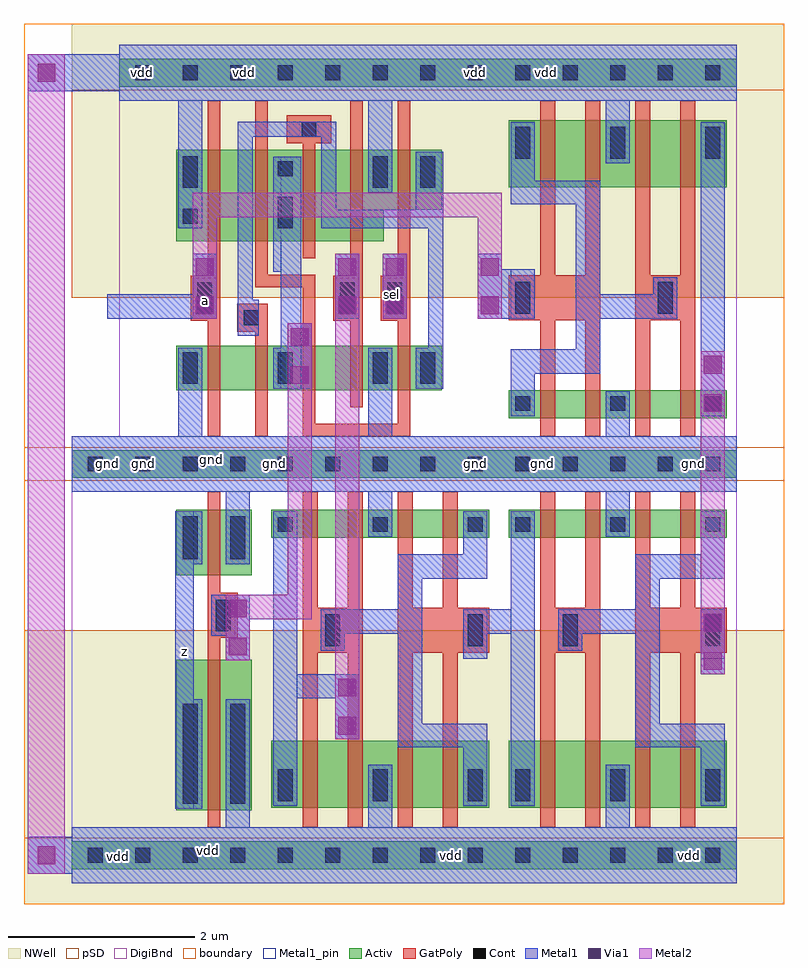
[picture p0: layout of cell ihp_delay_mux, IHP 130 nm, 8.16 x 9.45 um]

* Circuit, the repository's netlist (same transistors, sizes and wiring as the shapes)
* ------------------------------------------------------
*
*		Copyright 2025 IHP PDK Authors
*
*		Licensed under the Apache License, Version 2.0 (the "License");
*		you may not use this file except in compliance with the License.
*		You may obtain a copy of the License at
*
*		   https://www.apache.org/licenses/LICENSE-2.0
*
*		Unless required by applicable law or agreed to in writing, software
*		distributed under the License is distributed on an "AS IS" BASIS,
*		WITHOUT WARRANTIES OR CONDITIONS OF ANY KIND, either express or implied.
*		See the License for the specific language governing permissions and
*		limitations under the License.
*
*		Generated on Thu Jul 30 11:38:32 2026
*
* ------------------------------------------------------
* Flattened from RM_IHPSG13_64x16_c2_1P_DLY_MUX; unchanged W/L/m.
.subckt ihp_delay_mux a sel z vdd gnd
Xinternal_XI11_MN0 z internal_net4 gnd gnd sg13_lv_nmos w=705.000n l=130.00n m=1
Xinternal_XI11_MP0 z internal_net4 vdd vdd sg13_lv_pmos w=1.62u l=130.00n m=1
Xinternal_XI8_MP4 internal_XI8_SN sel vdd vdd sg13_lv_pmos w=645.000n l=130.00n m=1
Xinternal_XI8_MP3 internal_net4 internal_XI8_SN internal_XI8_net12 vdd sg13_lv_pmos w=985.000n l=130.00n m=1
Xinternal_XI8_MP2 internal_XI8_net12 internal_D<3> vdd vdd sg13_lv_pmos w=985.000n l=130.00n m=1
Xinternal_XI8_MP1 internal_net4 sel internal_XI8_net17 vdd sg13_lv_pmos w=985.000n l=130.00n m=1
Xinternal_XI8_MP0 internal_XI8_net17 a vdd vdd sg13_lv_pmos w=985.000n l=130.00n m=1
Xinternal_XI8_MN5 internal_XI8_SN sel gnd gnd sg13_lv_nmos w=480.00n l=130.00n m=1
Xinternal_XI8_MN3 internal_XI8_net13 internal_D<3> gnd gnd sg13_lv_nmos w=480.00n l=130.00n m=1
Xinternal_XI8_MN2 internal_net4 sel internal_XI8_net13 gnd sg13_lv_nmos w=480.00n l=130.00n m=1
Xinternal_XI8_MN1 internal_XI8_net15 a gnd gnd sg13_lv_nmos w=480.00n l=130.00n m=1
Xinternal_XI8_MN0 internal_net4 internal_XI8_SN internal_XI8_net15 gnd sg13_lv_nmos w=480.00n l=130.00n m=1
Xinternal_XI20<3>_MN1 internal_XI20<3>_net010 internal_XI20<3>_net032 gnd gnd sg13_lv_nmos w=300.0n l=160.00n m=1
Xinternal_XI20<3>_MN2 internal_XI20<3>_net032 internal_D<2> internal_XI20<3>_net014 gnd sg13_lv_nmos w=300.0n l=160.00n m=1
Xinternal_XI20<3>_MN0 internal_D<3> internal_XI20<3>_net032 internal_XI20<3>_net010 gnd sg13_lv_nmos w=300.0n l=160.00n m=1
Xinternal_XI20<3>_MN3 internal_XI20<3>_net014 internal_D<2> gnd gnd sg13_lv_nmos w=300.0n l=160.00n m=1
Xinternal_XI20<3>_MP1 internal_D<3> internal_XI20<3>_net032 internal_XI20<3>_net07 vdd sg13_lv_pmos w=720.00n l=160.00n m=1
Xinternal_XI20<3>_MP3 internal_XI20<3>_net011 internal_D<2> vdd vdd sg13_lv_pmos w=720.00n l=160.00n m=1
Xinternal_XI20<3>_MP0 internal_XI20<3>_net07 internal_XI20<3>_net032 vdd vdd sg13_lv_pmos w=720.00n l=160.00n m=1
Xinternal_XI20<3>_MP2 internal_XI20<3>_net032 internal_D<2> internal_XI20<3>_net011 vdd sg13_lv_pmos w=720.00n l=160.00n m=1
Xinternal_XI20<2>_MN1 internal_XI20<2>_net010 internal_XI20<2>_net032 gnd gnd sg13_lv_nmos w=300.0n l=160.00n m=1
Xinternal_XI20<2>_MN2 internal_XI20<2>_net032 internal_D<1> internal_XI20<2>_net014 gnd sg13_lv_nmos w=300.0n l=160.00n m=1
Xinternal_XI20<2>_MN0 internal_D<2> internal_XI20<2>_net032 internal_XI20<2>_net010 gnd sg13_lv_nmos w=300.0n l=160.00n m=1
Xinternal_XI20<2>_MN3 internal_XI20<2>_net014 internal_D<1> gnd gnd sg13_lv_nmos w=300.0n l=160.00n m=1
Xinternal_XI20<2>_MP1 internal_D<2> internal_XI20<2>_net032 internal_XI20<2>_net07 vdd sg13_lv_pmos w=720.00n l=160.00n m=1
Xinternal_XI20<2>_MP3 internal_XI20<2>_net011 internal_D<1> vdd vdd sg13_lv_pmos w=720.00n l=160.00n m=1
Xinternal_XI20<2>_MP0 internal_XI20<2>_net07 internal_XI20<2>_net032 vdd vdd sg13_lv_pmos w=720.00n l=160.00n m=1
Xinternal_XI20<2>_MP2 internal_XI20<2>_net032 internal_D<1> internal_XI20<2>_net011 vdd sg13_lv_pmos w=720.00n l=160.00n m=1
Xinternal_XI20<1>_MN1 internal_XI20<1>_net010 internal_XI20<1>_net032 gnd gnd sg13_lv_nmos w=300.0n l=160.00n m=1
Xinternal_XI20<1>_MN2 internal_XI20<1>_net032 a internal_XI20<1>_net014 gnd sg13_lv_nmos w=300.0n l=160.00n m=1
Xinternal_XI20<1>_MN0 internal_D<1> internal_XI20<1>_net032 internal_XI20<1>_net010 gnd sg13_lv_nmos w=300.0n l=160.00n m=1
Xinternal_XI20<1>_MN3 internal_XI20<1>_net014 a gnd gnd sg13_lv_nmos w=300.0n l=160.00n m=1
Xinternal_XI20<1>_MP1 internal_D<1> internal_XI20<1>_net032 internal_XI20<1>_net07 vdd sg13_lv_pmos w=720.00n l=160.00n m=1
Xinternal_XI20<1>_MP3 internal_XI20<1>_net011 a vdd vdd sg13_lv_pmos w=720.00n l=160.00n m=1
Xinternal_XI20<1>_MP0 internal_XI20<1>_net07 internal_XI20<1>_net032 vdd vdd sg13_lv_pmos w=720.00n l=160.00n m=1
Xinternal_XI20<1>_MP2 internal_XI20<1>_net032 a internal_XI20<1>_net011 vdd sg13_lv_pmos w=720.00n l=160.00n m=1
.ends ihp_delay_mux

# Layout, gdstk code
import gdstk
lib = gdstk.Library(unit=1e-6, precision=1e-09)
def R(c, l, rs):  # rectangles x0, y0, x1, y1
    for r in rs: c.add(gdstk.rectangle(r[:2], r[2:], *l))
def A(c, l, x, y, w, h, nx, ny, dx, dy):  # array of equal rectangles
    R(c, l, [(x+i*dx, y+j*dy, x+i*dx+w, y+j*dy+h) for i in range(nx) for j in range(ny)])
def P(c, l, *ps):  # polygons
    for p in ps: c.add(gdstk.Polygon(p, *l))
Activ = (1, 0)
GatPoly = (5, 0)
Cont = (6, 0)
Metal1 = (8, 0)
Metal1_pin = (8, 2)
Metal2 = (10, 0)
pSD = (14, 0)
DigiBnd = (16, 0)
Via1 = (19, 0)
NWell = (31, 0)
boundary = (189, 4)

ihp_delay_mux = lib.new_cell('ihp_delay_mux')
R(ihp_delay_mux, Activ, [(0.51,0.375,7.65,0.675), (1.635,1.005,2.445,2.625), (2.655,1.035,4.995,1.755), (5.205,1.035,7.545,1.755), (1.635,3.53,2.445,4.235), (2.655,3.935,4.995,4.235), (5.205,3.935,7.545,4.235), (0.51,4.575,7.65,4.875), (5.205,5.215,7.545,5.515), (1.635,5.515,4.485,5.995), (5.205,7.695,7.545,8.415), (1.02,8.775,7.65,9.075)])
P(ihp_delay_mux, Activ, [(1.635,7.115),(1.635,8.1),(4.485,8.1),(4.485,7.455),(3.865,7.455),(3.865,7.115)])
P(ihp_delay_mux, GatPoly, [(1.975,0.825),(1.975,4.425),(2.105,4.425),(2.105,3.34),(2.295,3.34),(2.295,2.86),(2.105,2.86),(2.105,0.825)],
  [(2.995,0.825),(2.995,4.425),(3.155,4.425),(3.155,3.18),(3.475,3.18),(3.475,4.425),(3.635,4.425),(3.635,0.825),(3.475,0.825),(3.475,2.7),(3.155,2.7),(3.155,0.825)],
  [(4.015,0.825),(4.015,4.425),(4.175,4.425),(4.175,3.18),(4.495,3.18),(4.495,4.425),(4.655,4.425),(4.655,3.18),(4.995,3.18),(4.995,2.7),(4.655,2.7),(4.655,0.825),(4.495,0.825),(4.495,2.7),(4.175,2.7),(4.175,0.825)],
  [(5.545,0.825),(5.545,4.425),(5.705,4.425),(5.705,3.18),(6.025,3.18),(6.025,4.425),(6.185,4.425),(6.185,0.825),(6.025,0.825),(6.025,2.7),(5.705,2.7),(5.705,0.825)],
  [(6.565,0.825),(6.565,4.425),(6.725,4.425),(6.725,3.18),(7.045,3.18),(7.045,4.425),(7.205,4.425),(7.205,3.18),(7.545,3.18),(7.545,2.7),(7.205,2.7),(7.205,0.825),(7.045,0.825),(7.045,2.7),(6.725,2.7),(6.725,0.825)],
  [(2.485,5.025),(2.485,6.145),(2.29,6.145),(2.29,6.445),(2.615,6.445),(2.615,5.025)],
  [(2.995,6.935),(2.995,8.17),(2.82,8.17),(2.82,8.47),(3.3,8.47),(3.3,8.17),(3.125,8.17),(3.125,6.935)],
  [(1.975,5.025),(1.975,6.265),(1.79,6.265),(1.79,6.745),(1.975,6.745),(1.975,8.625),(2.105,8.625),(2.105,5.025)],
  [(3.505,5.335),(3.505,6.265),(3.32,6.265),(3.32,6.745),(3.505,6.745),(3.505,8.625),(3.635,8.625),(3.635,5.335)],
  [(2.995,5.025),(2.995,6.625),(2.485,6.625),(2.485,8.625),(2.615,8.625),(2.615,6.755),(3.125,6.755),(3.125,5.155),(4.015,5.155),(4.015,6.265),(3.83,6.265),(3.83,6.745),(4.015,6.745),(4.015,8.625),(4.145,8.625),(4.145,5.025)],
  [(5.545,5.025),(5.545,6.27),(5.205,6.27),(5.205,6.75),(5.545,6.75),(5.545,8.625),(5.705,8.625),(5.705,6.75),(6.025,6.75),(6.025,8.625),(6.185,8.625),(6.185,5.025),(6.025,5.025),(6.025,6.27),(5.705,6.27),(5.705,5.025)],
  [(6.565,5.025),(6.565,8.625),(6.725,8.625),(6.725,6.75),(7.045,6.75),(7.045,8.625),(7.205,8.625),(7.205,5.025),(7.045,5.025),(7.045,6.27),(6.725,6.27),(6.725,5.025)])
A(ihp_delay_mux, Cont, 0.685, 0.445, 0.16, 0.16, 14, 2, 0.51, 4.2)
A(ihp_delay_mux, Cont, 2.725, 1.105, 0.16, 0.34, 3, 1, 1.02, 0)
A(ihp_delay_mux, Cont, 5.275, 1.105, 0.16, 0.34, 3, 2, 1.02, 6.9)
A(ihp_delay_mux, Cont, 2.725, 3.995, 0.16, 0.16, 3, 1, 1.02, 0)
A(ihp_delay_mux, Cont, 5.275, 3.995, 0.16, 0.16, 3, 2, 1.02, 1.3)
A(ihp_delay_mux, Cont, 1.705, 5.585, 0.16, 0.34, 3, 1, 1.02, 0)
A(ihp_delay_mux, Cont, 1.195, 8.845, 0.16, 0.16, 13, 1, 0.51, 0)
R(ihp_delay_mux, Cont, [(1.705,1.075,1.865,2.15), (2.215,1.075,2.375,2.15), (3.235,2.77,3.395,3.11), (4.765,2.77,4.925,3.11), (5.785,2.77,5.945,3.11), (7.315,2.77,7.475,3.11), (2.06,2.93,2.22,3.27), (1.705,3.7,1.865,4.165), (2.215,3.7,2.375,4.165), (4.255,5.585,4.415,5.925), (2.36,6.215,2.52,6.375), (1.86,6.335,2.02,6.675), (3.39,6.335,3.55,6.675), (3.9,6.335,4.06,6.675), (5.275,6.34,5.435,6.68), (6.805,6.34,6.965,6.68), (2.725,7.255,2.885,7.595), (1.705,7.305,1.865,7.465), (1.705,7.69,1.865,8.03), (3.745,7.69,3.905,8.03), (4.255,7.69,4.415,8.03), (2.725,7.815,2.885,7.975), (2.98,8.24,3.14,8.4)])
R(ihp_delay_mux, Metal1, [(0.51,0.225,7.65,0.325), (0.04,0.325,7.65,0.725), (0.51,0.725,7.65,0.825), (2.165,0.825,2.425,2.2), (3.695,0.825,3.955,1.495), (6.245,0.825,6.505,1.495), (1.625,1.025,1.915,2.2), (2.675,1.055,2.935,2.21), (4.715,1.055,4.975,1.685), (5.225,1.055,5.485,2.905), (7.265,1.055,7.525,1.685), (4.015,1.685,4.975,1.935), (6.565,1.685,7.525,1.935), (3.34,1.77,3.6,2.21), (4.015,1.935,4.275,2.905), (6.565,1.935,6.825,2.905), (1.625,2.2,1.825,3.65), (2.675,2.21,3.6,2.47), (7.265,2.465,7.525,3.165), (2.675,2.47,2.935,4.215), (2.165,2.62,2.425,2.88), (4.715,2.635,4.975,2.905), (3.185,2.72,3.445,2.905), (5.735,2.72,5.995,2.905), (2.01,2.88,2.425,3.32), (3.185,2.905,4.275,3.165), (4.715,2.905,5.485,3.165), (5.735,2.905,6.825,3.165), (4.015,3.165,4.275,3.495), (5.225,3.165,5.485,4.215), (6.565,3.165,6.825,3.495), (4.015,3.495,4.975,3.755), (6.565,3.495,7.525,3.755), (1.625,3.65,1.915,4.215), (2.165,3.65,2.425,4.425), (4.715,3.755,4.975,4.215), (7.265,3.755,7.525,4.215), (3.695,3.945,3.955,4.425), (6.245,3.945,6.505,4.425), (0.51,4.425,7.65,5.025), (1.655,5.025,1.915,5.975), (3.695,5.025,3.955,5.975), (6.245,5.025,6.505,5.505), (5.225,5.235,5.485,5.695), (7.265,5.235,7.525,8.395), (2.675,5.535,3.09,5.975), (4.205,5.535,4.5,5.975), (5.225,5.695,6.185,5.955), (5.925,5.955,6.185,6.285), (2.755,5.975,3.09,6.235), (4.34,5.975,4.5,7.255), (2.295,6.1,2.52,6.49), (2.755,6.235,2.975,6.79), (0.895,6.285,2.07,6.545), (3.34,6.285,3.6,6.985), (3.85,6.285,4.11,6.985), (4.87,6.285,5.485,6.815), (5.925,6.285,7.015,6.545), (2.295,6.49,2.455,8.24), (1.81,6.545,2.07,6.985), (5.925,6.545,6.185,7.515), (6.755,6.545,7.015,6.73), (2.675,6.79,2.975,8.025), (4.87,6.815,5.13,6.985), (1.655,7.255,1.915,8.625), (3.19,7.255,4.5,7.455), (3.19,7.455,3.35,8.24), (4.205,7.455,4.5,8.08), (5.225,7.515,6.185,7.765), (3.695,7.64,3.955,8.625), (5.225,7.765,5.485,8.395), (6.245,7.955,6.505,8.625), (2.295,8.24,3.35,8.4), (1.02,8.625,7.65,8.725), (0.04,8.725,7.65,9.125), (1.02,9.125,7.65,9.225)])
R(ihp_delay_mux, Metal1_pin, [(0.51,0.225,7.65,0.825), (1.625,1.025,1.825,4.215), (2.675,1.055,2.935,4.215), (5.225,1.055,5.485,4.215), (4.715,2.635,4.975,3.165), (7.265,2.635,7.525,3.165), (2.01,2.88,2.27,3.32), (0.51,4.425,7.65,5.025), (7.265,5.235,7.525,8.395), (2.755,5.535,2.975,8.025), (1.81,6.285,2.07,6.725), (3.34,6.285,3.6,6.725), (3.85,6.285,4.11,6.725), (5.225,6.285,5.485,6.815), (1.02,8.625,7.65,9.225)])
R(ihp_delay_mux, Metal2, [(0.04,0.325,0.44,9.125), (3.34,1.77,3.6,6.985), (7.265,2.465,7.525,5.935), (2.165,2.62,2.425,3.06), (2.165,3.06,3.09,3.32), (2.83,3.32,3.09,6.235), (1.81,6.285,2.07,7.375), (3.85,6.285,4.11,6.985), (4.87,6.285,5.13,7.375), (1.81,7.375,5.13,7.635)])
R(ihp_delay_mux, pSD, [(0,0.705,8.16,2.94), (0,4.545,8.16,4.905), (0.51,6.51,8.16,8.745)])
P(ihp_delay_mux, DigiBnd, [(0.51,0.225),(0.51,5.025),(1.02,5.025),(1.02,9.225),(7.65,9.225),(7.65,0.225)])
R(ihp_delay_mux, Via1, [(0.145,0.43,0.335,0.62), (3.375,1.82,3.565,2.01), (3.375,2.23,3.565,2.42), (7.3,2.515,7.49,2.705), (2.2,2.67,2.39,2.86), (7.3,2.925,7.49,3.115), (2.2,3.08,2.39,3.27), (7.3,5.285,7.49,5.475), (2.865,5.585,3.055,5.775), (7.3,5.695,7.49,5.885), (2.865,5.995,3.055,6.185), (1.845,6.335,2.035,6.525), (3.375,6.335,3.565,6.525), (3.885,6.335,4.075,6.525), (4.905,6.335,5.095,6.525), (1.845,6.745,2.035,6.935), (3.375,6.745,3.565,6.935), (3.885,6.745,4.075,6.935), (4.905,6.745,5.095,6.935), (0.145,8.83,0.335,9.02)])
R(ihp_delay_mux, NWell, [(0,0,8.16,2.94), (0.51,6.51,8.16,9.45)])
R(ihp_delay_mux, boundary, [(0,0,8.16,9.45)])
ihp_delay_mux.add(gdstk.Label('z', (1.725,2.71), layer=8, texttype=25))
ihp_delay_mux.add(gdstk.Label('sel', (3.945,6.54), layer=8, texttype=25))
ihp_delay_mux.add(gdstk.Label('a', (1.945,6.48), layer=8, texttype=25))
ihp_delay_mux.add(gdstk.Label('gnd', (2.01,4.77), layer=8, texttype=25))
ihp_delay_mux.add(gdstk.Label('vdd', (1.985,0.57), layer=8, texttype=25))
ihp_delay_mux.add(gdstk.Label('gnd', (4.85,4.735), layer=8, texttype=25))
ihp_delay_mux.add(gdstk.Label('vdd', (4.845,8.925), layer=8, texttype=25))
ihp_delay_mux.add(gdstk.Label('gnd', (1.28,4.735), layer=8, texttype=25))
ihp_delay_mux.add(gdstk.Label('vdd', (1.275,8.925), layer=8, texttype=25))
ihp_delay_mux.add(gdstk.Label('gnd', (0.895,4.73), layer=8, texttype=25))
ihp_delay_mux.add(gdstk.Label('vdd', (1.015,0.51), layer=8, texttype=25))
ihp_delay_mux.add(gdstk.Label('gnd', (2.685,4.73), layer=8, texttype=25))
ihp_delay_mux.add(gdstk.Label('vdd', (2.37,8.925), layer=8, texttype=25))
ihp_delay_mux.add(gdstk.Label('vdd', (4.59,0.525), layer=8, texttype=25))
ihp_delay_mux.add(gdstk.Label('gnd', (4.635,4.725), layer=8, texttype=25))
ihp_delay_mux.add(gdstk.Label('vdd', (7.14,0.525), layer=8, texttype=25))
ihp_delay_mux.add(gdstk.Label('gnd', (7.185,4.725), layer=8, texttype=25))
ihp_delay_mux.add(gdstk.Label('vdd', (5.61,8.925), layer=8, texttype=25))
ihp_delay_mux.add(gdstk.Label('gnd', (5.565,4.725), layer=8, texttype=25))

lib.write_gds('ihp_delay_mux.gds')
